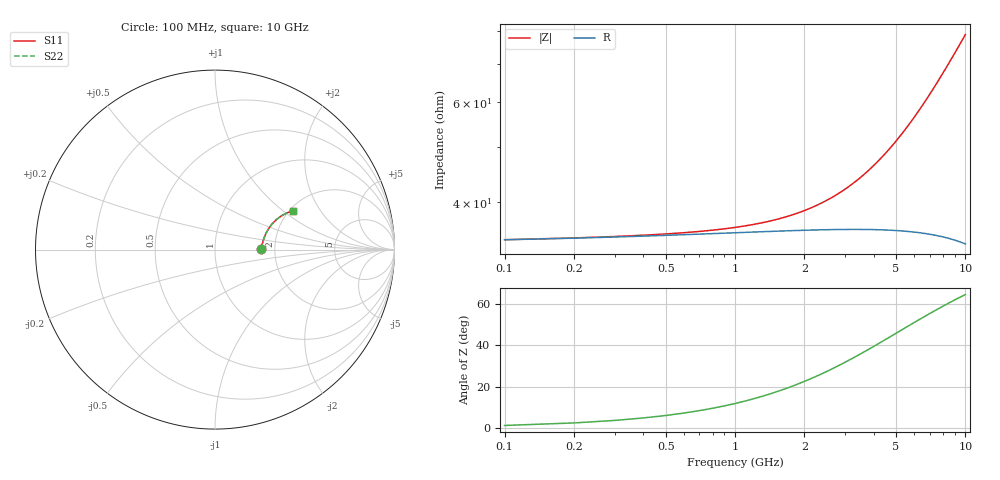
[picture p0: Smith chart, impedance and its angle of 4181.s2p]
# Hz S RI R 50.00
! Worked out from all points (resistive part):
!   100 points, 100 MHz to 10 GHz, reference 50 ohm
!   read as one part in series: R = 34.4 ohm at 100 MHz
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1e8  0.2559 0.0032  0.7441 -0.00492  0.7441 -0.00492  0.2559 0.0032
2e8  0.2572 0.00638  0.7427 -0.0098  0.7427 -0.0098  0.2572 0.00638
4e8  0.2591 0.0127  0.7408 -0.0195  0.7408 -0.0195  0.2591 0.0127
8e8  0.2622 0.0251  0.7377 -0.0388  0.7377 -0.0388  0.2622 0.0251
1.1e9  0.2644 0.0344  0.7353 -0.0532  0.7353 -0.0532  0.2644 0.0344
1.4e9  0.2669 0.0435  0.7328 -0.0675  0.7328 -0.0675  0.2669 0.0435
1.8e9  0.2705 0.0555  0.729 -0.0863  0.729 -0.0863  0.2705 0.0555
2.1e9  0.2735 0.0643  0.7258 -0.1003  0.7258 -0.1003  0.2735 0.0643
2.5e9  0.2779 0.0759  0.7211 -0.1187  0.7211 -0.1187  0.2779 0.0759
2.9e9  0.2828 0.0871  0.7158 -0.1369  0.7158 -0.1369  0.2828 0.0871
3.4e9  0.2897 0.1008  0.7084 -0.1591  0.7084 -0.1591  0.2897 0.1008
3.8e9  0.2957 0.1113  0.7018 -0.1765  0.7018 -0.1765  0.2957 0.1113
4.2e9  0.3022 0.1214  0.6948 -0.1935  0.6948 -0.1935  0.3022 0.1214
4.6e9  0.3092 0.1312  0.6872 -0.2102  0.6872 -0.2102  0.3092 0.1312
5.1e9  0.3185 0.1427  0.6771 -0.2304  0.6771 -0.2304  0.3185 0.1427
5.9e9  0.3346 0.1598  0.6595 -0.2612  0.6595 -0.2612  0.3346 0.1598
6.7e9  0.3521 0.1748  0.6403 -0.2902  0.6403 -0.2902  0.3521 0.1748
7.2e9  0.3635 0.1832  0.6277 -0.3073  0.6277 -0.3073  0.3635 0.1832
7.6e9  0.373 0.1894  0.6172 -0.3205  0.6172 -0.3205  0.373 0.1894
8.4e9  0.3924 0.2001  0.5956 -0.3452  0.5956 -0.3452  0.3924 0.2001
9.2e9  0.4124 0.2088  0.5731 -0.368  0.5731 -0.368  0.4124 0.2088
1e10  0.4327 0.2154  0.5501 -0.3888  0.5501 -0.3888  0.4327 0.2154
